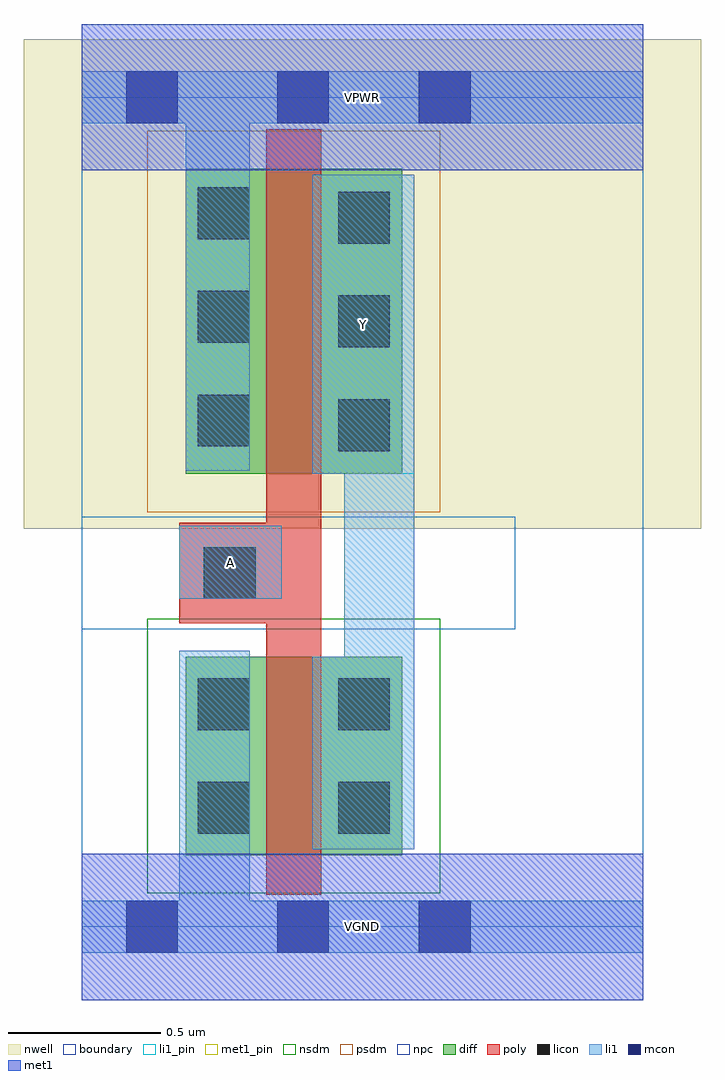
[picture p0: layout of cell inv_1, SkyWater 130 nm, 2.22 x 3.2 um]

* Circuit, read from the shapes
.subckt inv_1 A VGND VPWR Y
XM1 Y A VGND VSUBS sky130_fd_pr__nfet_01v8 w=0.65 l=0.18
XM2 Y A VPWR n1 sky130_fd_pr__pfet_01v8 w=1 l=0.18
.ends

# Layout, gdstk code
import gdstk
lib = gdstk.Library(unit=1e-6, precision=1e-09)
def R(c, l, rs):  # rectangles x0, y0, x1, y1
    for r in rs: c.add(gdstk.rectangle(r[:2], r[2:], *l))
def A(c, l, x, y, w, h, nx, ny, dx, dy):  # array of equal rectangles
    R(c, l, [(x+i*dx, y+j*dy, x+i*dx+w, y+j*dy+h) for i in range(nx) for j in range(ny)])
nwell = (64, 20)
diff = (65, 20)
poly = (66, 20)
licon = (66, 44)
li1_pin = (67, 16)
li1 = (67, 20)
mcon = (67, 44)
met1_pin = (68, 16)
met1 = (68, 20)
nsdm = (93, 44)
psdm = (94, 20)
npc = (95, 20)
boundary = (235, 4)

inv_1 = lib.new_cell('inv_1')
R(inv_1, nwell, [(-0.19,1.305,2.03,2.91), (0,1.305,1.84,2.91)])
R(inv_1, diff, [(0.34,0.235,1.05,0.885), (0.34,1.485,1.05,2.485)])
R(inv_1, poly, [(0.605,0.105,0.785,2.615), (0.32,0.995,0.785,1.325)])
A(inv_1, licon, 0.84, 1.56, 0.17, 0.17, 1, 3, 0, 0.34)
A(inv_1, licon, 0.38, 1.575, 0.17, 0.17, 1, 3, 0, 0.34)
R(inv_1, licon, [(0.38,0.305,0.55,0.475), (0.84,0.305,1.01,0.475), (0.38,0.645,0.55,0.815), (0.84,0.645,1.01,0.815), (0.4,1.075,0.57,1.245)])
R(inv_1, li1_pin, [(0.32,1.075,0.655,1.315), (0.755,1.485,1.09,2.465)])
R(inv_1, li1, [(0,-0.085,1.84,0.085), (0.32,-0.085,0.55,0.905), (0.755,0.255,1.09,0.885), (0.86,0.255,1.09,2.465), (0.32,1.075,0.655,1.315), (0.755,1.485,1.09,2.465), (0.34,1.495,0.55,2.805), (0,2.635,1.84,2.805)])
R(inv_1, mcon, [(0.145,-0.085,0.315,0.085), (0.64,-0.085,0.81,0.085), (1.105,-0.085,1.275,0.085), (0.145,2.635,0.315,2.805), (0.64,2.635,0.81,2.805), (1.105,2.635,1.275,2.805)])
R(inv_1, met1_pin, [(0,-0.24,1.84,0.24), (0,2.48,1.84,2.96)])
R(inv_1, met1, [(0,-0.24,1.84,0.24), (0,2.48,1.84,2.96)])
R(inv_1, nsdm, [(0.215,0.11,1.175,1.01)])
R(inv_1, psdm, [(0.215,1.36,1.175,2.61)])
R(inv_1, npc, [(0,0.975,1.42,1.345)])
R(inv_1, boundary, [(0,0,1.84,2.72)])
inv_1.add(gdstk.Label('A', (0.487,1.195), layer=67, texttype=5))
inv_1.add(gdstk.Label('Y', (0.922,1.975), layer=67, texttype=5))
inv_1.add(gdstk.Label('VPWR', (0.92,2.72), layer=68, texttype=5))
inv_1.add(gdstk.Label('VGND', (0.92,0), layer=68, texttype=5))
inv_1.add(gdstk.Label('A', (0.487,1.195), layer=67, texttype=16))
inv_1.add(gdstk.Label('Y', (0.922,1.975), layer=67, texttype=16))
inv_1.add(gdstk.Label('VPWR', (0.92,2.72), layer=68, texttype=16))
inv_1.add(gdstk.Label('VGND', (0.92,0), layer=68, texttype=16))

lib.write_gds('inv_1.gds')
